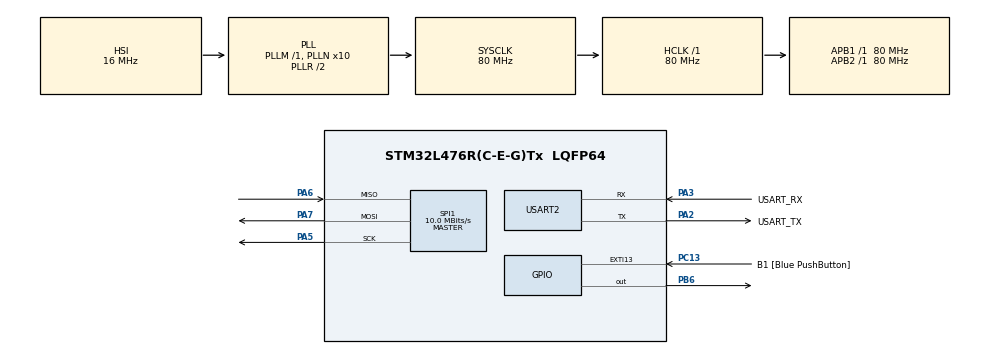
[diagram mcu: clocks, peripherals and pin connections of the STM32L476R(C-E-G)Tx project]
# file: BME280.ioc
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Mcu.Family=STM32L4
Mcu.Name=STM32L476R(C-E-G)Tx
Mcu.Package=LQFP64
NVIC.PriorityGroup=NVIC_PRIORITYGROUP_4
PA13\ (JTMS-SWDIO).GPIO_Label=TMS
PA13\ (JTMS-SWDIO).Mode=Serial_Wire
PA13\ (JTMS-SWDIO).Signal=SYS_JTMS-SWDIO
PA14\ (JTCK-SWCLK).GPIO_Label=TCK
PA14\ (JTCK-SWCLK).Mode=Serial_Wire
PA14\ (JTCK-SWCLK).Signal=SYS_JTCK-SWCLK
PA2.GPIO_Label=USART_TX
PA2.GPIO_Mode=GPIO_MODE_AF_PP
PA2.GPIO_PuPd=GPIO_NOPULL
PA2.GPIO_Speed=GPIO_SPEED_FREQ_VERY_HIGH
PA2.Mode=Asynchronous
PA2.Signal=USART2_TX
PA3.GPIO_Label=USART_RX
PA3.GPIO_Mode=GPIO_MODE_AF_PP
PA3.GPIO_PuPd=GPIO_NOPULL
PA3.GPIO_Speed=GPIO_SPEED_FREQ_VERY_HIGH
PA3.Mode=Asynchronous
PA3.Signal=USART2_RX
PA5.Mode=Full_Duplex_Master
PA5.Signal=SPI1_SCK
PA6.Mode=Full_Duplex_Master
PA6.Signal=SPI1_MISO
PA7.Mode=Full_Duplex_Master
PA7.Signal=SPI1_MOSI
PB3\ (JTDO-TRACESWO).GPIO_Label=SWO
PB3\ (JTDO-TRACESWO).Signal=SYS_JTDO-SWO
PB6.Signal=GPIO_Output
PC13.GPIO_Label=B1 [Blue PushButton]
PC13.GPIO_ModeDefaultEXTI=GPIO_MODE_IT_FALLING
PC13.GPIO_PuPd=GPIO_NOPULL
PC13.Signal=GPXTI13
PC14-OSC32_IN\ (PC14).Mode=LSE-External-Oscillator
PC14-OSC32_IN\ (PC14).Signal=RCC_OSC32_IN
PC15-OSC32_OUT\ (PC15).Mode=LSE-External-Oscillator
PC15-OSC32_OUT\ (PC15).Signal=RCC_OSC32_OUT
PH0-OSC_IN\ (PH0).Signal=RCC_OSC_IN
PH1-OSC_OUT\ (PH1).Signal=RCC_OSC_OUT
ProjectManager.HeapSize=0x200
ProjectManager.StackSize=0x400
ProjectManager.TargetToolchain=STM32CubeIDE
RCC.ADCFreq_Value=64000000
RCC.AHBFreq_Value=80000000
RCC.APB1Freq_Value=80000000
RCC.APB1TimFreq_Value=80000000
RCC.APB2Freq_Value=80000000
RCC.APB2TimFreq_Value=80000000
RCC.CortexFreq_Value=80000000
RCC.HCLKFreq_Value=80000000
RCC.HSE_VALUE=8000000
RCC.HSI_VALUE=16000000
RCC.MSI_VALUE=4000000
RCC.PLLN=10
RCC.PLLSourceVirtual=RCC_PLLSOURCE_HSI
RCC.PREFETCH_ENABLE=1
RCC.SYSCLKFreq_VALUE=80000000
RCC.SYSCLKSource=RCC_SYSCLKSOURCE_PLLCLK
RCC.USBFreq_Value=64000000
RCC.VCOOutputFreq_Value=160000000
SPI1.BaudRatePrescaler=SPI_BAUDRATEPRESCALER_8
SPI1.CalculateBaudRate=10.0 MBits/s
SPI1.DataSize=SPI_DATASIZE_8BIT
SPI1.Direction=SPI_DIRECTION_2LINES
SPI1.Mode=SPI_MODE_MASTER
SPI1.VirtualType=VM_MASTER
USART2.VirtualMode-Asynchronous=VM_ASYNC
board=NUCLEO-L476RG

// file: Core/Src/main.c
/* USER CODE BEGIN Header */
/**
  ******************************************************************************
  * @file           : main.c
  * @brief          : Main program body
  ******************************************************************************
  * @attention
  *
  * Copyright (c) 2026 STMicroelectronics.
  * All rights reserved.
  *
  * This software is licensed under terms that can be found in the LICENSE file
  * in the root directory of this software component.
  * If no LICENSE file comes with this software, it is provided AS-IS.
  *
  ******************************************************************************
  */
/* USER CODE END Header */
#include "main.h"

/* USER CODE BEGIN Includes */
#include "BME280.h"
#include "stdio.h"
#include "string.h"

extern int32_t tRaw, pRaw, hRaw;

/* USER CODE END Includes */

SPI_HandleTypeDef hspi1;

UART_HandleTypeDef huart2;

/* USER CODE BEGIN PV */
float Temperature, Pressure, Humidity;

/* USER CODE END PV */

void SystemClock_Config(void);
static void MX_GPIO_Init(void);
static void MX_USART2_UART_Init(void);
static void MX_SPI1_Init(void);

int main(void)
{

  /* MCU Configuration--------------------------------------------------------*/

  /* Reset of all peripherals, Initializes the Flash interface and the Systick. */
  HAL_Init();

  /* Configure the system clock */
  SystemClock_Config();

  /* Initialize all configured peripherals */
  MX_GPIO_Init();
  MX_USART2_UART_Init();
  MX_SPI1_Init();
  /* USER CODE BEGIN 2 */

  HAL_GPIO_WritePin(GPIOB, GPIO_PIN_6, GPIO_PIN_SET);
  HAL_Delay(10);

  int rc = BME280_config(OSRS_2, OSRS_16, OSRS_1, MODE_NORMAL, T_SB_0p5, IIR_16);

  char dbg[100];
  snprintf(dbg, sizeof(dbg), "config rc=%d  ctrl_hum=0x%02X  config=0x%02X  ctrl_meas=0x%02X\r\n",
               rc, BME280_SPI_Read(CTRL_HUM_REG), BME280_SPI_Read(CONFIG_REG), BME280_SPI_Read(CTRL_MEAS_REG));
  HAL_UART_Transmit(&huart2, (uint8_t*)dbg, strlen(dbg), HAL_MAX_DELAY);

  /* USER CODE END 2 */

  /* Infinite loop */
  while (1)
  {

    /* USER CODE BEGIN 3 */
	  BME280_Measure();

	  char msg[100];
	      snprintf(msg, sizeof(msg), "ID=0x%02X  T=%.2f C  P=%.2f Pa  H=%.2f %%\r\n",
	               chipID, Temperature, Pressure, Humidity);
	  HAL_UART_Transmit(&huart2, (uint8_t*)msg, strlen(msg), HAL_MAX_DELAY);
	  HAL_Delay(1000);

  }
  /* USER CODE END 3 */
}

void SystemClock_Config(void)
{
  RCC_OscInitTypeDef RCC_OscInitStruct = {0};
  RCC_ClkInitTypeDef RCC_ClkInitStruct = {0};

  /** Configure the main internal regulator output voltage
  */
  if (HAL_PWREx_ControlVoltageScaling(PWR_REGULATOR_VOLTAGE_SCALE1) != HAL_OK)
  {
    Error_Handler();
  }

  /** Initializes the RCC Oscillators according to the specified parameters
  * in the RCC_OscInitTypeDef structure.
  */
  RCC_OscInitStruct.OscillatorType = RCC_OSCILLATORTYPE_HSI;
  RCC_OscInitStruct.HSIState = RCC_HSI_ON;
  RCC_OscInitStruct.HSICalibrationValue = RCC_HSICALIBRATION_DEFAULT;
  RCC_OscInitStruct.PLL.PLLState = RCC_PLL_ON;
  RCC_OscInitStruct.PLL.PLLSource = RCC_PLLSOURCE_HSI;
  RCC_OscInitStruct.PLL.PLLM = 1;
  RCC_OscInitStruct.PLL.PLLN = 10;
  RCC_OscInitStruct.PLL.PLLP = RCC_PLLP_DIV7;
  RCC_OscInitStruct.PLL.PLLQ = RCC_PLLQ_DIV2;
  RCC_OscInitStruct.PLL.PLLR = RCC_PLLR_DIV2;
  if (HAL_RCC_OscConfig(&RCC_OscInitStruct) != HAL_OK)
  {
    Error_Handler();
  }

  /** Initializes the CPU, AHB and APB buses clocks
  */
  RCC_ClkInitStruct.ClockType = RCC_CLOCKTYPE_HCLK|RCC_CLOCKTYPE_SYSCLK
                              |RCC_CLOCKTYPE_PCLK1|RCC_CLOCKTYPE_PCLK2;
  RCC_ClkInitStruct.SYSCLKSource = RCC_SYSCLKSOURCE_PLLCLK;
  RCC_ClkInitStruct.AHBCLKDivider = RCC_SYSCLK_DIV1;
  RCC_ClkInitStruct.APB1CLKDivider = RCC_HCLK_DIV1;
  RCC_ClkInitStruct.APB2CLKDivider = RCC_HCLK_DIV1;

  if (HAL_RCC_ClockConfig(&RCC_ClkInitStruct, FLASH_LATENCY_4) != HAL_OK)
  {
    Error_Handler();
  }
}

static void MX_SPI1_Init(void)
{

  /* SPI1 parameter configuration*/
  hspi1.Instance = SPI1;
  hspi1.Init.Mode = SPI_MODE_MASTER;
  hspi1.Init.Direction = SPI_DIRECTION_2LINES;
  hspi1.Init.DataSize = SPI_DATASIZE_8BIT;
  hspi1.Init.CLKPolarity = SPI_POLARITY_LOW;
  hspi1.Init.CLKPhase = SPI_PHASE_1EDGE;
  hspi1.Init.NSS = SPI_NSS_SOFT;
  hspi1.Init.BaudRatePrescaler = SPI_BAUDRATEPRESCALER_8;
  hspi1.Init.FirstBit = SPI_FIRSTBIT_MSB;
  hspi1.Init.TIMode = SPI_TIMODE_DISABLE;
  hspi1.Init.CRCCalculation = SPI_CRCCALCULATION_DISABLE;
  hspi1.Init.CRCPolynomial = 7;
  hspi1.Init.CRCLength = SPI_CRC_LENGTH_DATASIZE;
  hspi1.Init.NSSPMode = SPI_NSS_PULSE_ENABLE;
  if (HAL_SPI_Init(&hspi1) != HAL_OK)
  {
    Error_Handler();
  }

}

static void MX_USART2_UART_Init(void)
{

  huart2.Instance = USART2;
  huart2.Init.BaudRate = 115200;
  huart2.Init.WordLength = UART_WORDLENGTH_8B;
  huart2.Init.StopBits = UART_STOPBITS_1;
  huart2.Init.Parity = UART_PARITY_NONE;
  huart2.Init.Mode = UART_MODE_TX_RX;
  huart2.Init.HwFlowCtl = UART_HWCONTROL_NONE;
  huart2.Init.OverSampling = UART_OVERSAMPLING_16;
  huart2.Init.OneBitSampling = UART_ONE_BIT_SAMPLE_DISABLE;
  huart2.AdvancedInit.AdvFeatureInit = UART_ADVFEATURE_NO_INIT;
  if (HAL_UART_Init(&huart2) != HAL_OK)
  {
    Error_Handler();
  }

}

static void MX_GPIO_Init(void)
{
  GPIO_InitTypeDef GPIO_InitStruct = {0};

  /* GPIO Ports Clock Enable */
  __HAL_RCC_GPIOC_CLK_ENABLE();
  __HAL_RCC_GPIOH_CLK_ENABLE();
  __HAL_RCC_GPIOA_CLK_ENABLE();
  __HAL_RCC_GPIOB_CLK_ENABLE();

  /*Configure GPIO pin Output Level */
  HAL_GPIO_WritePin(GPIOB, GPIO_PIN_6, GPIO_PIN_RESET);

  /*Configure GPIO pin : B1_Pin */
  GPIO_InitStruct.Pin = B1_Pin;
  GPIO_InitStruct.Mode = GPIO_MODE_IT_FALLING;
  GPIO_InitStruct.Pull = GPIO_NOPULL;
  HAL_GPIO_Init(B1_GPIO_Port, &GPIO_InitStruct);

  /*Configure GPIO pin : PB6 */
  GPIO_InitStruct.Pin = GPIO_PIN_6;
  GPIO_InitStruct.Mode = GPIO_MODE_OUTPUT_PP;
  GPIO_InitStruct.Pull = GPIO_NOPULL;
  GPIO_InitStruct.Speed = GPIO_SPEED_FREQ_LOW;
  HAL_GPIO_Init(GPIOB, &GPIO_InitStruct);

}

void Error_Handler(void)
{
  __disable_irq();
  while (1)
  {
  }
}
